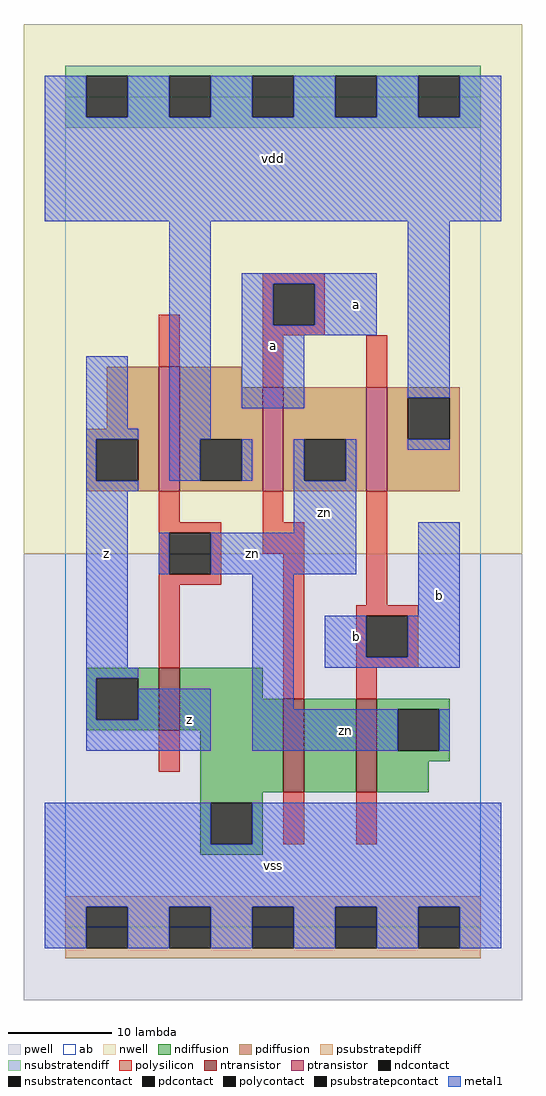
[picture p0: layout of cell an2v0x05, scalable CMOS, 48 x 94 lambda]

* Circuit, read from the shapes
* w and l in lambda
.subckt an2v0x05 a b vdd vss z zn
M1 vss zn z vss nfet w=6 l=2
M2 n1 a vss vss nfet w=9 l=2
M3 zn b n1 vss nfet w=9 l=2
M4 vdd zn z vdd pfet w=12 l=2
M5 zn a vdd vdd pfet w=10 l=2
M6 vdd b zn vdd pfet w=10 l=2
.ends

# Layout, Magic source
magic
tech scmos
<< ab >>
rect 0 0 40 80
<< pwell >>
rect -4 -7 44 36
<< nwell >>
rect -4 36 44 87
<< polysilicon >>
rect 19 62 25 63
rect 9 54 11 59
rect 19 58 20 62
rect 24 58 25 62
rect 19 57 25 58
rect 19 52 21 57
rect 29 52 31 57
rect 9 39 11 42
rect 19 39 21 42
rect 9 38 15 39
rect 9 34 10 38
rect 14 34 15 38
rect 19 36 23 39
rect 9 33 15 34
rect 9 25 11 33
rect 21 22 23 36
rect 29 31 31 42
rect 28 30 34 31
rect 28 26 29 30
rect 33 26 34 30
rect 28 25 34 26
rect 28 22 30 25
rect 9 15 11 19
rect 21 8 23 13
rect 28 8 30 13
<< ndiffusion >>
rect 2 24 9 25
rect 2 20 3 24
rect 7 20 9 24
rect 2 19 9 20
rect 11 22 19 25
rect 11 19 21 22
rect 13 13 21 19
rect 23 13 28 22
rect 30 21 37 22
rect 30 17 32 21
rect 36 17 37 21
rect 30 16 37 17
rect 30 13 35 16
rect 13 12 19 13
rect 13 8 14 12
rect 18 8 19 12
rect 13 7 19 8
<< pdiffusion >>
rect 4 48 9 54
rect 2 47 9 48
rect 2 43 3 47
rect 7 43 9 47
rect 2 42 9 43
rect 11 52 17 54
rect 11 47 19 52
rect 11 43 13 47
rect 17 43 19 47
rect 11 42 19 43
rect 21 47 29 52
rect 21 43 23 47
rect 27 43 29 47
rect 21 42 29 43
rect 31 51 38 52
rect 31 47 33 51
rect 37 47 38 51
rect 31 42 38 47
<< metal1 >>
rect -2 78 2 82
rect 6 78 10 82
rect 14 78 18 82
rect 22 78 26 82
rect 30 78 34 82
rect 38 78 42 82
rect -2 68 42 78
rect 2 48 6 55
rect 2 47 7 48
rect 2 43 3 47
rect 10 47 14 68
rect 17 62 30 63
rect 17 58 20 62
rect 24 58 30 62
rect 17 57 30 58
rect 17 50 23 57
rect 33 51 37 68
rect 10 43 13 47
rect 17 43 18 47
rect 22 43 23 47
rect 27 43 28 47
rect 33 46 37 47
rect 2 42 7 43
rect 2 25 6 42
rect 22 38 28 43
rect 9 34 10 38
rect 14 34 28 38
rect 2 24 7 25
rect 2 20 3 24
rect 7 20 14 23
rect 2 17 14 20
rect 18 21 22 34
rect 34 30 38 39
rect 25 26 29 30
rect 33 26 38 30
rect 25 25 38 26
rect 18 17 32 21
rect 36 17 37 21
rect -2 8 14 12
rect 18 8 42 12
rect -2 2 42 8
rect -2 -2 2 2
rect 6 -2 10 2
rect 14 -2 18 2
rect 22 -2 26 2
rect 30 -2 34 2
rect 38 -2 42 2
<< ntransistor >>
rect 9 19 11 25
rect 21 13 23 22
rect 28 13 30 22
<< ptransistor >>
rect 9 42 11 54
rect 19 42 21 52
rect 29 42 31 52
<< polycontact >>
rect 20 58 24 62
rect 10 34 14 38
rect 29 26 33 30
<< ndcontact >>
rect 3 20 7 24
rect 32 17 36 21
rect 14 8 18 12
<< pdcontact >>
rect 3 43 7 47
rect 13 43 17 47
rect 23 43 27 47
rect 33 47 37 51
<< psubstratepcontact >>
rect 2 -2 6 2
rect 10 -2 14 2
rect 18 -2 22 2
rect 26 -2 30 2
rect 34 -2 38 2
<< nsubstratencontact >>
rect 2 78 6 82
rect 10 78 14 82
rect 18 78 22 82
rect 26 78 30 82
rect 34 78 38 82
<< psubstratepdiff >>
rect 0 2 40 3
rect 0 -2 2 2
rect 6 -2 10 2
rect 14 -2 18 2
rect 22 -2 26 2
rect 30 -2 34 2
rect 38 -2 40 2
rect 0 -3 40 -2
<< nsubstratendiff >>
rect 0 82 40 83
rect 0 78 2 82
rect 6 78 10 82
rect 14 78 18 82
rect 22 78 26 82
rect 30 78 34 82
rect 38 78 40 82
rect 0 77 40 78
<< labels >>
rlabel metal1 4 36 4 36 6 z
rlabel metal1 12 20 12 20 6 z
rlabel metal1 20 6 20 6 6 vss
rlabel metal1 18 36 18 36 6 zn
rlabel metal1 28 28 28 28 6 b
rlabel metal1 25 40 25 40 6 zn
rlabel metal1 20 56 20 56 6 a
rlabel metal1 28 60 28 60 6 a
rlabel metal1 20 74 20 74 6 vdd
rlabel metal1 27 19 27 19 6 zn
rlabel metal1 36 32 36 32 6 b
<< end >>
